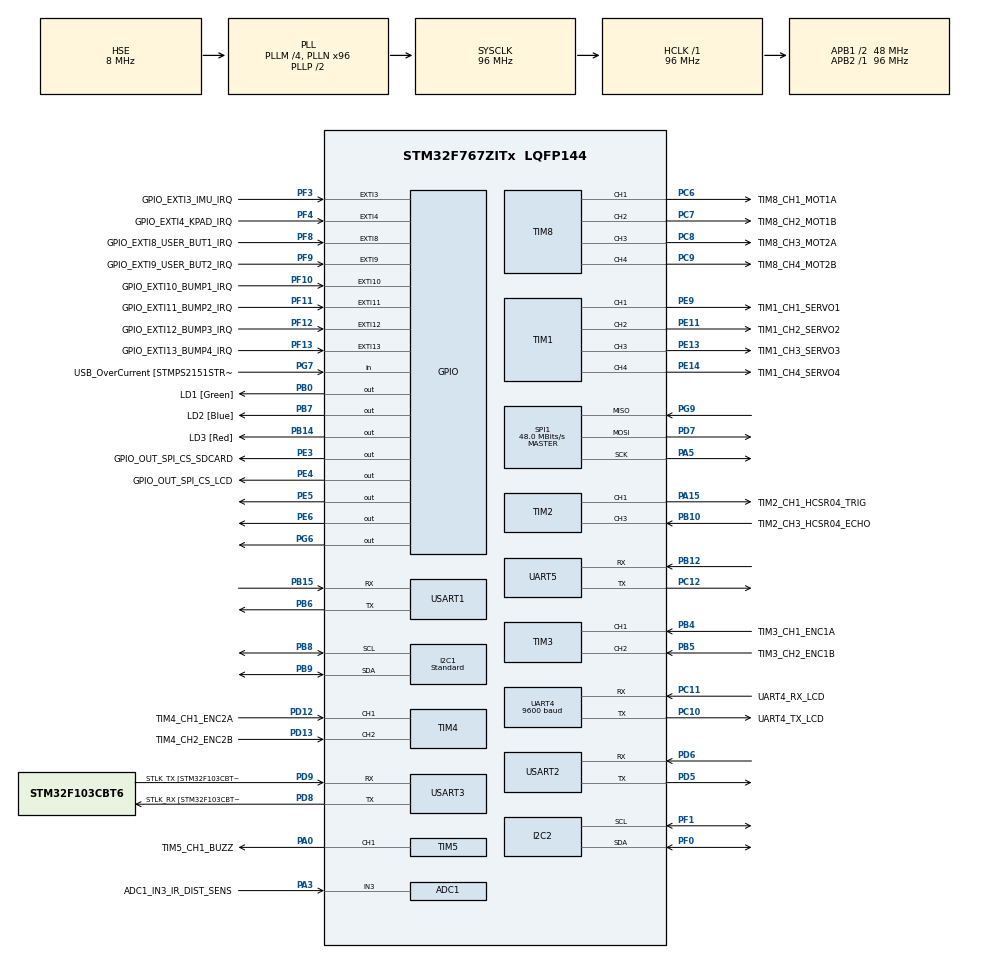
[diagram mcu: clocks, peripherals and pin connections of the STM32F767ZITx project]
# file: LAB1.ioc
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ADC1.Channel-1\#ChannelRegularConversion=ADC_CHANNEL_3
ADC1.NbrOfConversionFlag=1
ADC1.Rank-1\#ChannelRegularConversion=1
ADC1.SamplingTime-1\#ChannelRegularConversion=ADC_SAMPLETIME_3CYCLES
ADC1.master=1
FREERTOS.Tasks01=LineSensorTask,48,128,StartLineSensorTask,Default,NULL,Dynamic,NULL,NULL;led1Task,48,128,StartLED1Task,Default,NULL,Dynamic,NULL,NULL;led2Task,8,128,StartLED2Task,Default,NULL,Dynamic,NULL,NULL
FREERTOS.configUSE_NEWLIB_REENTRANT=1
I2C1.I2C_Speed_Mode=I2C_Standard
I2C1.Timing=0x20303E5D
I2C2.Timing=0x20303E5D
Mcu.Family=STM32F7
Mcu.Name=STM32F767ZITx
Mcu.Package=LQFP144
Mcu.UserConstants=TIM8_PSC_VALUE,959;TIM8_ARR_VALUE,400;TIM1_PSC_VALUE,959;TIM1_ARR_VALUE,200
NVIC.EXTI4_IRQn=true\:1\:0\:true\:false\:true\:true\:true\:true\:true
NVIC.PriorityGroup=NVIC_PRIORITYGROUP_4
NVIC.TIM6_DAC_IRQn=true\:15\:0\:false\:false\:true\:false\:false\:true\:true
NVIC.TimeBase=TIM6_DAC_IRQn
NVIC.TimeBaseIP=TIM6
PA0/WKUP.GPIO_Label=TIM5_CH1_BUZZ
PA0/WKUP.Signal=S_TIM5_CH1
PA1.GPIO_Label=RMII_REF_CLK [LAN8742A-CZ-TR_REFCLK0]
PA1.Signal=ETH_REF_CLK
PA10.GPIO_Label=USB_ID
PA10.Signal=USB_OTG_FS_ID
PA11.GPIO_Label=USB_DM
PA11.Signal=USB_OTG_FS_DM
PA12.GPIO_Label=USB_DP
PA12.Signal=USB_OTG_FS_DP
PA13.GPIO_Label=TMS
PA13.Mode=Serial_Wire
PA13.Signal=SYS_JTMS-SWDIO
PA14.GPIO_Label=TCK
PA14.Mode=Serial_Wire
PA14.Signal=SYS_JTCK-SWCLK
PA15.GPIO_Label=TIM2_CH1_HCSR04_TRIG
PA15.Signal=S_TIM2_CH1_ETR
PA2.GPIO_Label=RMII_MDIO [LAN8742A-CZ-TR_MDIO]
PA2.Signal=ETH_MDIO
PA3.GPIO_Label=ADC1_IN3_IR_DIST_SENS
PA3.Signal=ADCx_IN3
PA5.Mode=Full_Duplex_Master
PA5.Signal=SPI1_SCK
PA7.GPIO_Label=RMII_CRS_DV [LAN8742A-CZ-TR_CRS_DV]
PA7.Signal=ETH_CRS_DV
PA8.GPIO_Label=USB_SOF [TP1]
PA8.Signal=USB_OTG_FS_SOF
PA9.GPIO_Label=USB_VBUS
PA9.Signal=USB_OTG_FS_VBUS
PB0.GPIO_Label=LD1 [Green]
PB0.Signal=GPIO_Output
PB10.GPIO_Label=TIM2_CH3_HCSR04_ECHO
PB10.Signal=S_TIM2_CH3
PB12.Mode=Asynchronous
PB12.Signal=UART5_RX
PB13.GPIO_Label=RMII_TXD1 [LAN8742A-CZ-TR_TXD1]
PB13.Signal=ETH_TXD1
PB14.GPIO_Label=LD3 [Red]
PB14.Signal=GPIO_Output
PB15.Mode=Asynchronous
PB15.Signal=USART1_RX
PB3.GPIO_Label=SWO
PB3.Signal=SYS_JTDO-SWO
PB4.GPIO_Label=TIM3_CH1_ENC1A
PB4.Signal=S_TIM3_CH1
PB5.GPIO_Label=TIM3_CH2_ENC1B
PB5.Signal=S_TIM3_CH2
PB6.Mode=Asynchronous
PB6.Signal=USART1_TX
PB7.GPIO_Label=LD2 [Blue]
PB7.Signal=GPIO_Output
PB8.GPIO_Pu=GPIO_PULLUP
PB8.Mode=I2C
PB8.Signal=I2C1_SCL
PB9.GPIO_Pu=GPIO_PULLUP
PB9.Mode=I2C
PB9.Signal=I2C1_SDA
PC1.GPIO_Label=RMII_MDC [LAN8742A-CZ-TR_MDC]
PC1.Signal=ETH_MDC
PC10.GPIO_Label=UART4_TX_LCD
PC10.Mode=Asynchronous
PC10.Signal=UART4_TX
PC11.GPIO_Label=UART4_RX_LCD
PC11.Mode=Asynchronous
PC11.Signal=UART4_RX
PC12.Mode=Asynchronous
PC12.Signal=UART5_TX
PC14/OSC32_IN.Mode=LSE-External-Oscillator
PC14/OSC32_IN.Signal=RCC_OSC32_IN
PC15/OSC32_OUT.Mode=LSE-External-Oscillator
PC15/OSC32_OUT.Signal=RCC_OSC32_OUT
PC4.GPIO_Label=RMII_RXD0 [LAN8742A-CZ-TR_RXD0]
PC4.Signal=ETH_RXD0
PC5.GPIO_Label=RMII_RXD1 [LAN8742A-CZ-TR_RXD1]
PC5.Signal=ETH_RXD1
PC6.GPIO_Label=TIM8_CH1_MOT1A
PC6.Signal=S_TIM8_CH1
PC7.GPIO_Label=TIM8_CH2_MOT1B
PC7.Signal=S_TIM8_CH2
PC8.GPIO_Label=TIM8_CH3_MOT2A
PC8.Signal=S_TIM8_CH3
PC9.GPIO_Label=TIM8_CH4_MOT2B
PC9.Signal=S_TIM8_CH4
PD12.GPIO_Label=TIM4_CH1_ENC2A
PD12.Signal=S_TIM4_CH1
PD13.GPIO_Label=TIM4_CH2_ENC2B
PD13.Signal=S_TIM4_CH2
PD5.Mode=Asynchronous
PD5.Signal=USART2_TX
PD6.Mode=Asynchronous
PD6.Signal=USART2_RX
PD7.Mode=Full_Duplex_Master
PD7.Signal=SPI1_MOSI
PD8.GPIO_Label=STLK_RX [STM32F103CBT6_PA3]
PD8.Mode=Asynchronous
PD8.Signal=USART3_TX
PD9.GPIO_Label=STLK_TX [STM32F103CBT6_PA2]
PD9.Mode=Asynchronous
PD9.Signal=USART3_RX
PE11.GPIO_Label=TIM1_CH2_SERVO2
PE11.Signal=S_TIM1_CH2
PE13.GPIO_Label=TIM1_CH3_SERVO3
PE13.Signal=S_TIM1_CH3
PE14.GPIO_Label=TIM1_CH4_SERVO4
PE14.Signal=S_TIM1_CH4
PE3.GPIO_Label=GPIO_OUT_SPI_CS_SDCARD
PE3.Signal=GPIO_Output
PE4.GPIO_Label=GPIO_OUT_SPI_CS_LCD
PE4.Signal=GPIO_Output
PE5.Signal=GPIO_Output
PE6.Signal=GPIO_Output
PE9.GPIO_Label=TIM1_CH1_SERVO1
PE9.Signal=S_TIM1_CH1
PF0.GPIO_Pu=GPIO_PULLUP
PF0.Mode=I2C
PF0.Signal=I2C2_SDA
PF1.GPIO_Pu=GPIO_PULLUP
PF1.Mode=I2C
PF1.Signal=I2C2_SCL
PF10.GPIO_Label=GPIO_EXTI10_BUMP1_IRQ
PF10.Signal=GPXTI10
PF11.GPIO_Label=GPIO_EXTI11_BUMP2_IRQ
PF11.Signal=GPXTI11
PF12.GPIO_Label=GPIO_EXTI12_BUMP3_IRQ
PF12.Signal=GPXTI12
PF13.GPIO_Label=GPIO_EXTI13_BUMP4_IRQ
PF13.Signal=GPXTI13
PF3.GPIO_Label=GPIO_EXTI3_IMU_IRQ
PF3.Signal=GPXTI3
PF4.GPIO_Label=GPIO_EXTI4_KPAD_IRQ
PF4.GPIO_ModeDefaultEXTI=GPIO_MODE_IT_FALLING
PF4.Signal=GPXTI4
PF8.GPIO_Label=GPIO_EXTI8_USER_BUT1_IRQ
PF8.Signal=GPXTI8
PF9.GPIO_Label=GPIO_EXTI9_USER_BUT2_IRQ
PF9.Signal=GPXTI9
PG11.GPIO_Label=RMII_TX_EN [LAN8742A-CZ-TR_TXEN]
PG11.Signal=ETH_TX_EN
PG13.GPIO_Label=RMII_TXD0 [LAN8742A-CZ-TR_TXD0]
PG13.Signal=ETH_TXD0
PG6.Signal=GPIO_Output
PG7.GPIO_Label=USB_OverCurrent [STMPS2151STR_FAULT]
PG7.Signal=GPIO_Input
PG9.Mode=Full_Duplex_Master
PG9.Signal=SPI1_MISO
PH0/OSC_IN.GPIO_Label=MCO [STM32F103CBT6_PA8]
PH0/OSC_IN.Mode=HSE-External-Clock-Source
PH0/OSC_IN.Signal=RCC_OSC_IN
PH1/OSC_OUT.Mode=HSE-External-Clock-Source
PH1/OSC_OUT.Signal=RCC_OSC_OUT
ProjectManager.HeapSize=0x200
ProjectManager.StackSize=0x400
ProjectManager.TargetToolchain=STM32CubeIDE
RCC.48MHZClocksFreq_Value=24000000
RCC.AHBFreq_Value=96000000
RCC.APB1CLKDivider=RCC_HCLK_DIV2
RCC.APB1Freq_Value=48000000
RCC.APB1TimFreq_Value=96000000
RCC.APB2Freq_Value=96000000
RCC.APB2TimFreq_Value=96000000
RCC.CortexFreq_Value=96000000
RCC.HCLKFreq_Value=96000000
RCC.HSE_VALUE=8000000
RCC.HSI_VALUE=16000000
RCC.PLLM=4
RCC.PLLMUL=RCC_PLL_MUL9
RCC.PLLN=96
RCC.PLLQ=4
RCC.PLLSourceVirtual=RCC_PLLSOURCE_HSE
RCC.PRESCALERUSB=RCC_USBCLKSOURCE_PLL_DIV1_5
RCC.SYSCLKFreq_VALUE=96000000
RCC.SYSCLKSource=RCC_SYSCLKSOURCE_PLLCLK
RCC.SYSCLKSourceVirtual=RCC_SYSCLKSOURCE_PLLCLK
RCC.USBFreq_Value=48000000
RCC.VCOOutputFreq_Value=192000000
SH.ADCx_IN3.0=ADC1_IN3,IN3
SH.S_TIM1_CH1.0=TIM1_CH1,PWM Generation1 CH1
SH.S_TIM1_CH2.0=TIM1_CH2,PWM Generation2 CH2
SH.S_TIM1_CH3.0=TIM1_CH3,PWM Generation3 CH3
SH.S_TIM1_CH4.0=TIM1_CH4,PWM Generation4 CH4
SH.S_TIM2_CH1_ETR.0=TIM2_CH1,PWM Generation1 CH1
SH.S_TIM2_CH3.0=TIM2_CH3,Input_Capture3_from_TI3
SH.S_TIM3_CH1.0=TIM3_CH1,Encoder_Interface
SH.S_TIM3_CH2.0=TIM3_CH2,Encoder_Interface
SH.S_TIM4_CH1.0=TIM4_CH1,Encoder_Interface
SH.S_TIM4_CH2.0=TIM4_CH2,Encoder_Interface
SH.S_TIM5_CH1.0=TIM5_CH1,PWM Generation1 CH1
SH.S_TIM8_CH1.0=TIM8_CH1,PWM Generation1 CH1
SH.S_TIM8_CH2.0=TIM8_CH2,PWM Generation2 CH2
SH.S_TIM8_CH3.0=TIM8_CH3,PWM Generation3 CH3
SH.S_TIM8_CH4.0=TIM8_CH4,PWM Generation4 CH4
SPI1.CalculateBaudRate=48.0 MBits/s
SPI1.Direction=SPI_DIRECTION_2LINES
SPI1.Mode=SPI_MODE_MASTER
SPI1.VirtualType=VM_MASTER
TIM1.Channel-PWM\ Generation1\ CH1=TIM_CHANNEL_1
TIM1.Channel-PWM\ Generation2\ CH2=TIM_CHANNEL_2
TIM1.Channel-PWM\ Generation3\ CH3=TIM_CHANNEL_3
TIM1.Channel-PWM\ Generation4\ CH4=TIM_CHANNEL_4
TIM1.Period=TIM1_ARR_VALUE
TIM1.Prescaler=TIM1_PSC_VALUE
TIM2.Channel-Input_Capture3_from_TI3=TIM_CHANNEL_3
TIM2.Channel-PWM\ Generation1\ CH1=TIM_CHANNEL_1
TIM5.Channel-PWM\ Generation1\ CH1=TIM_CHANNEL_1
TIM8.Channel-PWM\ Generation1\ CH1=TIM_CHANNEL_1
TIM8.Channel-PWM\ Generation2\ CH2=TIM_CHANNEL_2
TIM8.Channel-PWM\ Generation3\ CH3=TIM_CHANNEL_3
TIM8.Channel-PWM\ Generation4\ CH4=TIM_CHANNEL_4
TIM8.Period=TIM8_ARR_VALUE
TIM8.Prescaler=TIM8_PSC_VALUE
UART4.BaudRate=9600
USART1.VirtualMode-Asynchronous=VM_ASYNC
USART2.VirtualMode-Asynchronous=VM_ASYNC
USART3.VirtualMode-Asynchronous=VM_ASYNC
VP_FREERTOS_VS_CMSIS_V2.Mode=CMSIS_V2
VP_SYS_VS_tim6.Mode=TIM6
VP_TIM1_VS_ClockSourceINT.Mode=Internal
VP_TIM2_VS_ClockSourceINT.Mode=Internal
VP_TIM5_VS_ClockSourceINT.Mode=Internal
VP_TIM8_VS_ClockSourceINT.Mode=Internal
board=NUCLEO-F767ZI

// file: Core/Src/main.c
/* USER CODE BEGIN Header */
/**
 ******************************************************************************
 * @file           : main.c
 * @brief          : Main program body
 ******************************************************************************
 * @attention
 *
 * <h2><center>&copy; Copyright (c) 2021 STMicroelectronics.
 * All rights reserved.</center></h2>
 *
 * This software component is licensed by ST under BSD 3-Clause license,
 * the "License"; You may not use this file except in compliance with the
 * License. You may obtain a copy of the License at:
 *                        opensource.org/licenses/BSD-3-Clause
 *
 ******************************************************************************
 */
/* USER CODE END Header */
#include "main.h"
#include "cmsis_os.h"

/* USER CODE BEGIN Includes */
#include <stdio.h>
#include <string.h>
#include "SX1509_Registers.h"
/* USER CODE END Includes */

/* USER CODE BEGIN PD */
#define HAL_TIMEOUT 100

#define I2C_TIMEOUT 200

#define SX1509_I2C_ADDR1 0x3E //	SX1509 Proxy Sensors I2C address
#define SX1509_I2C_ADDR2 0x3F //	SX1509 Keypad I2C address
/* USER CODE END PD */

ADC_HandleTypeDef hadc1;

I2C_HandleTypeDef hi2c1;
I2C_HandleTypeDef hi2c2;

SPI_HandleTypeDef hspi1;

TIM_HandleTypeDef htim1;
TIM_HandleTypeDef htim2;
TIM_HandleTypeDef htim3;
TIM_HandleTypeDef htim4;
TIM_HandleTypeDef htim5;
TIM_HandleTypeDef htim8;

UART_HandleTypeDef huart4;
UART_HandleTypeDef huart5;
UART_HandleTypeDef huart1;
UART_HandleTypeDef huart2;
UART_HandleTypeDef huart3;

/* Definitions for LineSensorTask */
osThreadId_t LineSensorTaskHandle;
const osThreadAttr_t LineSensorTask_attributes = {
  .name = "LineSensorTask",
  .stack_size = 128 * 4,
  .priority = (osPriority_t) osPriorityRealtime,
};
/* Definitions for led1Task */
osThreadId_t led1TaskHandle;
const osThreadAttr_t led1Task_attributes = {
  .name = "led1Task",
  .stack_size = 128 * 4,
  .priority = (osPriority_t) osPriorityRealtime,
};
/* Definitions for led2Task */
osThreadId_t led2TaskHandle;
const osThreadAttr_t led2Task_attributes = {
  .name = "led2Task",
  .stack_size = 128 * 4,
  .priority = (osPriority_t) osPriorityLow,
};
/* USER CODE BEGIN PV */
const char keypadLayout[4][4] = {
    {'*', '0', '#', 'D'},
    {'7', '8', '9', 'C'},
    {'4', '5', '6', 'B'},
    {'1', '2', '3', 'A'}};
uint8_t store1, store2;
int colum, row;
char triggeredChar;
int columDir [4]= { 3, 2 ,1 ,0};
int keypadFreq = 1;
/* USER CODE END PV */

void SystemClock_Config(void);
static void MX_GPIO_Init(void);
static void MX_USART3_UART_Init(void);
static void MX_ADC1_Init(void);
static void MX_I2C1_Init(void);
static void MX_I2C2_Init(void);
static void MX_SPI1_Init(void);
static void MX_TIM1_Init(void);
static void MX_TIM2_Init(void);
static void MX_TIM3_Init(void);
static void MX_TIM4_Init(void);
static void MX_TIM5_Init(void);
static void MX_TIM8_Init(void);
static void MX_UART4_Init(void);
static void MX_UART5_Init(void);
static void MX_USART1_UART_Init(void);
static void MX_USART2_UART_Init(void);
void StartLineSensorTask(void *argument);
void StartLED1Task(void *argument);
void StartLED2Task(void *argument);

/* USER CODE BEGIN PFP */
extern void initialise_monitor_handles(void);
int getIndex(int value);
int findBinary(int decimal){
	int base = 1;
	int binary = 0;
   while(decimal > 0){
	   int rem = decimal % 2;
	   binary = binary + rem*base;
	   decimal = decimal / 2;
	   base = base * 10;
   }
   printf("Binary: %d\n\r", binary);
}
/* USER CODE END PFP */

/* USER CODE BEGIN 0 */
int inputUser = 0;
int counter = 0;
int flag=0;
int freq;
int lineData;
void HAL_GPIO_EXTI_Callback(uint16_t GPIO_Pin)
{
  //HAL_GPIO_TogglePin(GPIOE, GPIO_PIN_5);
  HAL_I2C_Mem_Read(&hi2c1, SX1509_I2C_ADDR2 << 1, REG_KEY_DATA_1, 1,&colum, 1, I2C_TIMEOUT);
  HAL_I2C_Mem_Read(&hi2c1, SX1509_I2C_ADDR2 << 1, REG_KEY_DATA_2, 1,&row, 1, I2C_TIMEOUT);
  printf("Interrupt on pin (%d).\n", GPIO_Pin);
  printf("colum.raw (%d)    row.raw (%d).\n", colum, row);
  colum = getIndex (colum);
  row = getIndex(row);
  printf("colum (%d)    row (%d).\n", colum, row);
  triggeredChar = keypadLayout[row][colum];

  if(flag == 1){
	  freq = inputUser;
	  inputUser = 0;
	  counter = 0;
	  flag = 0;
  }
	  if((triggeredChar <= '9') && (triggeredChar >= '0')){
	  	 		  keypadFreq = (int)(triggeredChar - '0');
	  	 		  inputUser = inputUser*(10^counter) + keypadFreq;
	  	 		  counter++;
	  }
  printf("Triggered Char: %c \n\r ", triggeredChar);
}

int getIndex(int value){
  switch (value){
    case 247:
      return 3;
    case 251:
      return 2;
    case 253:
      return 1;
    case 254:
      return 0;
    default:
    	return 99;
  }
}
/* USER CODE END 0 */

int main(void)
{
  /* USER CODE BEGIN 1 */
  uint8_t data;
  HAL_StatusTypeDef status;
  /* USER CODE END 1 */

  /* MCU Configuration--------------------------------------------------------*/

  /* Reset of all peripherals, Initializes the Flash interface and the Systick. */
  HAL_Init();

  /* Configure the system clock */
  SystemClock_Config();

  /* USER CODE BEGIN SysInit */
  initialise_monitor_handles();
  /* USER CODE END SysInit */

  /* Initialize all configured peripherals */
  MX_GPIO_Init();
  MX_USART3_UART_Init();
  MX_ADC1_Init();
  MX_I2C1_Init();
  MX_I2C2_Init();
  MX_SPI1_Init();
  MX_TIM1_Init();
  MX_TIM2_Init();
  MX_TIM3_Init();
  MX_TIM4_Init();
  MX_TIM5_Init();
  MX_TIM8_Init();
  MX_UART4_Init();
  MX_UART5_Init();
  MX_USART1_UART_Init();
  MX_USART2_UART_Init();
  /* USER CODE BEGIN 2 */

  /* Disable LCD SPI SS */
  HAL_GPIO_WritePin(GPIO_OUT_SPI_CS_LCD_GPIO_Port, GPIO_OUT_SPI_CS_LCD_Pin, GPIO_PIN_SET);

  /* Disable EXTI4_IRQ during SX1509 initialization */
  HAL_NVIC_DisableIRQ(EXTI4_IRQn);

  /* Software reset */
  data = 0x12;
  status = HAL_I2C_Mem_Write(&hi2c1, SX1509_I2C_ADDR2 << 1, REG_RESET, 1, &data, 1, I2C_TIMEOUT);
  if (status != HAL_OK)
    printf("I2C communication error (%X).\n", status);

  data = 0x34;
  status = HAL_I2C_Mem_Write(&hi2c1, SX1509_I2C_ADDR2 << 1, REG_RESET, 1, &data, 1, I2C_TIMEOUT);
  if (status != HAL_OK)
    printf("I2C communication error (%X).\n", status);

  HAL_Delay(100);

  /* Set KeyPad scanning engine */

  /* Set RegClock to 0x40 (enable internal oscillator; 2MHz freq) */
  data = 0x40;
  status = HAL_I2C_Mem_Write(&hi2c1, SX1509_I2C_ADDR2 << 1, REG_CLOCK, 1, &data, 1, I2C_TIMEOUT);
  if (status != HAL_OK)
    printf("I2C communication error (%X).\n", status);

  /* Set Bank A RegDir to 0xF0 (IO[0:3] as out) */
  data = 0xF0;
  status = HAL_I2C_Mem_Write(&hi2c1, SX1509_I2C_ADDR2 << 1, REG_DIR_A, 1, &data, 1, I2C_TIMEOUT);
  if (status != HAL_OK)
    printf("I2C communication error (%X).\n", status);

  /* Set Bank B RegDir to 0x0F (IO[8:11] as in) */
  data = 0x0F;
  status = HAL_I2C_Mem_Write(&hi2c1, SX1509_I2C_ADDR2 << 1, REG_DIR_B, 1, &data, 1, I2C_TIMEOUT);
  if (status != HAL_OK)
    printf("I2C communication error (%X).\n", status);

  /* Set Bank A RegOpenDrain to 0x0F (IO[0:3] as open-drain outputs) */
  data = 0x0F;
  status = HAL_I2C_Mem_Write(&hi2c1, SX1509_I2C_ADDR2 << 1, REG_OPEN_DRAIN_A, 1, &data, 1, I2C_TIMEOUT);
  if (status != HAL_OK)
    printf("I2C communication error (%X).\n", status);

  /* Set Bank B RegPullup to 0x0F (pull-ups enabled on inputs IO[8:11]) */
  data = 0x0F;
  status = HAL_I2C_Mem_Write(&hi2c1, SX1509_I2C_ADDR2 << 1, REG_PULL_UP_B, 1, &data, 1, I2C_TIMEOUT);
  if (status != HAL_OK)
    printf("I2C communication error (%X).\n", status);

  /* Set Bank B RegDebounceEnable to 0x0F (enable debouncing on IO[8:11]) */
  data = 0x0F;
  status = HAL_I2C_Mem_Write(&hi2c1, SX1509_I2C_ADDR2 << 1, REG_DEBOUNCE_ENABLE_B, 1, &data, 1, I2C_TIMEOUT);
  if (status != HAL_OK)
    printf("I2C communication error (%X).\n", status);

  /* Set RegDebounceConfig to 0x05 (16ms debounce time) */
  data = 0x05;
  status = HAL_I2C_Mem_Write(&hi2c1, SX1509_I2C_ADDR2 << 1, REG_DEBOUNCE_CONFIG, 1, &data, 1, I2C_TIMEOUT);
  if (status != HAL_OK)
    printf("I2C communication error (%X).\n", status);

  /* Set RegKeyConfig1 to 0x7D (8s auto-sleep; 32ms scan time per row) */
  data = 0x7D;
  status = HAL_I2C_Mem_Write(&hi2c1, SX1509_I2C_ADDR2 << 1, REG_KEY_CONFIG_1, 1, &data, 1, I2C_TIMEOUT);
  if (status != HAL_OK)
    printf("I2C communication error (%X).\n", status);

  /* Set RegKeyConfig2 to 0x1B (4 rows; 4 columns) */
  data = 0x1B;
  status = HAL_I2C_Mem_Write(&hi2c1, SX1509_I2C_ADDR2 << 1, REG_KEY_CONFIG_2, 1, &data, 1, I2C_TIMEOUT);
  if (status != HAL_OK)
    printf("I2C communication error (%X).\n", status);

  /* Enable EXTI4_IRQ after SX1509 initialization */
  HAL_Delay(100);
  HAL_NVIC_EnableIRQ(EXTI4_IRQn);

  /* Disable EXTI2_IRQ during SX1509 initialization */
  HAL_NVIC_DisableIRQ(EXTI2_IRQn);

  /* Software reset */
  data = 0x12;
  status = HAL_I2C_Mem_Write(&hi2c1, SX1509_I2C_ADDR1 << 1, REG_RESET, 1, &data, 1, I2C_TIMEOUT);
  if (status != HAL_OK)
    printf("I2C communication error (%X).\n", status);

  data = 0x34;
  status = HAL_I2C_Mem_Write(&hi2c1, SX1509_I2C_ADDR1 << 1, REG_RESET, 1, &data, 1, I2C_TIMEOUT);
  if (status != HAL_OK)
    printf("I2C communication error (%X).\n", status);

  HAL_Delay(100);

  /* Set RegDirA to 0xFF (all IO of Bank A configured as inputs) */
  data = 0xFF; // 0 = out; 1 = in
  status = HAL_I2C_Mem_Write(&hi2c1, SX1509_I2C_ADDR1 << 1, REG_DIR_A, 1, &data, 1, I2C_TIMEOUT);
  if (status != HAL_OK)
    printf("I2C communication error (%X).\n", status);

  /* Set RegDirB to 0xFF (all IO of Bank B configured as inputs) */
  data = 0xFF; // 0 = out; 1 = in
  status = HAL_I2C_Mem_Write(&hi2c1, SX1509_I2C_ADDR1 << 1, REG_DIR_B, 1, &data, 1, I2C_TIMEOUT);
  if (status != HAL_OK)
    printf("I2C communication error (%X).\n", status);

  /* Set RegInterruptMaskA to 0x00 (all IO of Bank A will trigger an interrupt) */
  data = 0x00;
  status = HAL_I2C_Mem_Write(&hi2c1, SX1509_I2C_ADDR1 << 1, REG_INTERRUPT_MASK_A, 1, &data, 1, I2C_TIMEOUT);
  if (status != HAL_OK)
    printf("I2C communication error (%X).\n", status);

  /* Set RegSenseHighA to 0xAA (IO[7:4] of Bank A will trigger an interrupt on falling edge) */
  data = 0xAA;
  status = HAL_I2C_Mem_Write(&hi2c1, SX1509_I2C_ADDR1 << 1, REG_SENSE_HIGH_A, 1, &data, 1, I2C_TIMEOUT);
  if (status != HAL_OK)
    printf("I2C communication error (%X).\n", status);

  /* Set RegSenseLowA to 0xAA (IO[3:0] of Bank A will trigger an interrupt on falling edge) */
  data = 0xAA;
  status = HAL_I2C_Mem_Write(&hi2c1, SX1509_I2C_ADDR1 << 1, REG_SENSE_LOW_A, 1, &data, 1, I2C_TIMEOUT);
  if (status != HAL_OK)
    printf("I2C communication error (%X).\n", status);

  /* Enable EXTI2_IRQ after SX1509 initialization */
  HAL_Delay(100);
  HAL_NVIC_EnableIRQ(EXTI2_IRQn);

  printf("Ready\n");
  //int lineData;
  /* USER CODE END 2 */

  /* Init scheduler */
  osKernelInitialize();

  /* Create the thread(s) */
  /* creation of LineSensorTask */
  LineSensorTaskHandle = osThreadNew(StartLineSensorTask, NULL, &LineSensorTask_attributes);

  /* creation of led1Task */
  led1TaskHandle = osThreadNew(StartLED1Task, NULL, &led1Task_attributes);

  /* creation of led2Task */
  led2TaskHandle = osThreadNew(StartLED2Task, NULL, &led2Task_attributes);

  /* Start scheduler */
  osKernelStart();
  /* We should never get here as control is now taken by the scheduler */
  /* Infinite loop */
  /* USER CODE BEGIN WHILE */
  while (1)
  {

	  /*HAL_I2C_Mem_Read(&hi2c1, SX1509_I2C_ADDR1 << 1, REG_DATA_B, 1, &lineData, 1, I2C_TIMEOUT);
	  findBinary(lineData);
	  printf("Decimal is: %d \n\r", lineData);
	  HAL_Delay(500);*/
	  if(triggeredChar == '#'){
		  flag = 1;
		  HAL_GPIO_TogglePin(GPIOE, GPIO_PIN_5);
		  if(inputUser != 0){
			  HAL_Delay((1.0/inputUser)*1000);
		  }
		  else{
			  HAL_Delay(1000);
		  }
	  }
	  else{
		  HAL_GPIO_TogglePin(GPIOE, GPIO_PIN_5);
		  if(freq != 0){
			  HAL_Delay((1.0/freq)*1000);
		  }
		  else{
			  HAL_Delay(1000);
		  }
	  }
    /* USER CODE END WHILE */

  }
}

void SystemClock_Config(void)
{
  RCC_OscInitTypeDef RCC_OscInitStruct = {0};
  RCC_ClkInitTypeDef RCC_ClkInitStruct = {0};

  /** Configure LSE Drive Capability
  */
  HAL_PWR_EnableBkUpAccess();

  /** Configure the main internal regulator output voltage
  */
  __HAL_RCC_PWR_CLK_ENABLE();
  __HAL_PWR_VOLTAGESCALING_CONFIG(PWR_REGULATOR_VOLTAGE_SCALE3);

  /** Initializes the RCC Oscillators according to the specified parameters
  * in the RCC_OscInitTypeDef structure.
  */
  RCC_OscInitStruct.OscillatorType = RCC_OSCILLATORTYPE_HSE;
  RCC_OscInitStruct.HSEState = RCC_HSE_BYPASS;
  RCC_OscInitStruct.PLL.PLLState = RCC_PLL_ON;
  RCC_OscInitStruct.PLL.PLLSource = RCC_PLLSOURCE_HSE;
  RCC_OscInitStruct.PLL.PLLM = 4;
  RCC_OscInitStruct.PLL.PLLN = 96;
  RCC_OscInitStruct.PLL.PLLP = RCC_PLLP_DIV2;
  RCC_OscInitStruct.PLL.PLLQ = 4;
  RCC_OscInitStruct.PLL.PLLR = 2;
  if (HAL_RCC_OscConfig(&RCC_OscInitStruct) != HAL_OK)
  {
    Error_Handler();
  }

  /** Activate the Over-Drive mode
  */
  if (HAL_PWREx_EnableOverDrive() != HAL_OK)
  {
    Error_Handler();
  }

  /** Initializes the CPU, AHB and APB buses clocks
  */
  RCC_ClkInitStruct.ClockType = RCC_CLOCKTYPE_HCLK|RCC_CLOCKTYPE_SYSCLK
                              |RCC_CLOCKTYPE_PCLK1|RCC_CLOCKTYPE_PCLK2;
  RCC_ClkInitStruct.SYSCLKSource = RCC_SYSCLKSOURCE_PLLCLK;
  RCC_ClkInitStruct.AHBCLKDivider = RCC_SYSCLK_DIV1;
  RCC_ClkInitStruct.APB1CLKDivider = RCC_HCLK_DIV2;
  RCC_ClkInitStruct.APB2CLKDivider = RCC_HCLK_DIV1;

  if (HAL_RCC_ClockConfig(&RCC_ClkInitStruct, FLASH_LATENCY_3) != HAL_OK)
  {
    Error_Handler();
  }
}

static void MX_ADC1_Init(void)
{

  ADC_ChannelConfTypeDef sConfig = {0};

  /** Configure the global features of the ADC (Clock, Resolution, Data Alignment and number of conversion)
  */
  hadc1.Instance = ADC1;
  hadc1.Init.ClockPrescaler = ADC_CLOCK_SYNC_PCLK_DIV4;
  hadc1.Init.Resolution = ADC_RESOLUTION_12B;
  hadc1.Init.ScanConvMode = ADC_SCAN_DISABLE;
  hadc1.Init.ContinuousConvMode = DISABLE;
  hadc1.Init.DiscontinuousConvMode = DISABLE;
  hadc1.Init.ExternalTrigConvEdge = ADC_EXTERNALTRIGCONVEDGE_NONE;
  hadc1.Init.ExternalTrigConv = ADC_SOFTWARE_START;
  hadc1.Init.DataAlign = ADC_DATAALIGN_RIGHT;
  hadc1.Init.NbrOfConversion = 1;
  hadc1.Init.DMAContinuousRequests = DISABLE;
  hadc1.Init.EOCSelection = ADC_EOC_SINGLE_CONV;
  if (HAL_ADC_Init(&hadc1) != HAL_OK)
  {
    Error_Handler();
  }

  /** Configure for the selected ADC regular channel its corresponding rank in the sequencer and its sample time.
  */
  sConfig.Channel = ADC_CHANNEL_3;
  sConfig.Rank = ADC_REGULAR_RANK_1;
  sConfig.SamplingTime = ADC_SAMPLETIME_3CYCLES;
  if (HAL_ADC_ConfigChannel(&hadc1, &sConfig) != HAL_OK)
  {
    Error_Handler();
  }

}

static void MX_I2C1_Init(void)
{

  hi2c1.Instance = I2C1;
  hi2c1.Init.Timing = 0x20303E5D;
  hi2c1.Init.OwnAddress1 = 0;
  hi2c1.Init.AddressingMode = I2C_ADDRESSINGMODE_7BIT;
  hi2c1.Init.DualAddressMode = I2C_DUALADDRESS_DISABLE;
  hi2c1.Init.OwnAddress2 = 0;
  hi2c1.Init.OwnAddress2Masks = I2C_OA2_NOMASK;
  hi2c1.Init.GeneralCallMode = I2C_GENERALCALL_DISABLE;
  hi2c1.Init.NoStretchMode = I2C_NOSTRETCH_DISABLE;
  if (HAL_I2C_Init(&hi2c1) != HAL_OK)
  {
    Error_Handler();
  }

  /** Configure Analogue filter
  */
  if (HAL_I2CEx_ConfigAnalogFilter(&hi2c1, I2C_ANALOGFILTER_ENABLE) != HAL_OK)
  {
    Error_Handler();
  }

  /** Configure Digital filter
  */
  if (HAL_I2CEx_ConfigDigitalFilter(&hi2c1, 0) != HAL_OK)
  {
    Error_Handler();
  }

}

static void MX_I2C2_Init(void)
{

  hi2c2.Instance = I2C2;
  hi2c2.Init.Timing = 0x20303E5D;
  hi2c2.Init.OwnAddress1 = 0;
  hi2c2.Init.AddressingMode = I2C_ADDRESSINGMODE_7BIT;
  hi2c2.Init.DualAddressMode = I2C_DUALADDRESS_DISABLE;
  hi2c2.Init.OwnAddress2 = 0;
  hi2c2.Init.OwnAddress2Masks = I2C_OA2_NOMASK;
  hi2c2.Init.GeneralCallMode = I2C_GENERALCALL_DISABLE;
  hi2c2.Init.NoStretchMode = I2C_NOSTRETCH_DISABLE;
  if (HAL_I2C_Init(&hi2c2) != HAL_OK)
  {
    Error_Handler();
  }

  /** Configure Analogue filter
  */
  if (HAL_I2CEx_ConfigAnalogFilter(&hi2c2, I2C_ANALOGFILTER_ENABLE) != HAL_OK)
  {
    Error_Handler();
  }

  /** Configure Digital filter
  */
  if (HAL_I2CEx_ConfigDigitalFilter(&hi2c2, 0) != HAL_OK)
  {
    Error_Handler();
  }

}

static void MX_SPI1_Init(void)
{

  /* SPI1 parameter configuration*/
  hspi1.Instance = SPI1;
  hspi1.Init.Mode = SPI_MODE_MASTER;
  hspi1.Init.Direction = SPI_DIRECTION_2LINES;
  hspi1.Init.DataSize = SPI_DATASIZE_4BIT;
  hspi1.Init.CLKPolarity = SPI_POLARITY_LOW;
  hspi1.Init.CLKPhase = SPI_PHASE_1EDGE;
  hspi1.Init.NSS = SPI_NSS_SOFT;
  hspi1.Init.BaudRatePrescaler = SPI_BAUDRATEPRESCALER_2;
  hspi1.Init.FirstBit = SPI_FIRSTBIT_MSB;
  hspi1.Init.TIMode = SPI_TIMODE_DISABLE;
  hspi1.Init.CRCCalculation = SPI_CRCCALCULATION_DISABLE;
  hspi1.Init.CRCPolynomial = 7;
  hspi1.Init.CRCLength = SPI_CRC_LENGTH_DATASIZE;
  hspi1.Init.NSSPMode = SPI_NSS_PULSE_ENABLE;
  if (HAL_SPI_Init(&hspi1) != HAL_OK)
  {
    Error_Handler();
  }

}

static void MX_TIM1_Init(void)
{

  TIM_ClockConfigTypeDef sClockSourceConfig = {0};
  TIM_MasterConfigTypeDef sMasterConfig = {0};
  TIM_OC_InitTypeDef sConfigOC = {0};
  TIM_BreakDeadTimeConfigTypeDef sBreakDeadTimeConfig = {0};

  htim1.Instance = TIM1;
  htim1.Init.Prescaler = TIM1_PSC_VALUE;
  htim1.Init.CounterMode = TIM_COUNTERMODE_UP;
  htim1.Init.Period = TIM1_ARR_VALUE;
  htim1.Init.ClockDivision = TIM_CLOCKDIVISION_DIV1;
  htim1.Init.RepetitionCounter = 0;
  htim1.Init.AutoReloadPreload = TIM_AUTORELOAD_PRELOAD_DISABLE;
  if (HAL_TIM_Base_Init(&htim1) != HAL_OK)
  {
    Error_Handler();
  }
  sClockSourceConfig.ClockSource = TIM_CLOCKSOURCE_INTERNAL;
  if (HAL_TIM_ConfigClockSource(&htim1, &sClockSourceConfig) != HAL_OK)
  {
    Error_Handler();
  }
  if (HAL_TIM_PWM_Init(&htim1) != HAL_OK)
  {
    Error_Handler();
  }
  sMasterConfig.MasterOutputTrigger = TIM_TRGO_RESET;
  sMasterConfig.MasterOutputTrigger2 = TIM_TRGO2_RESET;
  sMasterConfig.MasterSlaveMode = TIM_MASTERSLAVEMODE_DISABLE;
  if (HAL_TIMEx_MasterConfigSynchronization(&htim1, &sMasterConfig) != HAL_OK)
  {
    Error_Handler();
  }
  sConfigOC.OCMode = TIM_OCMODE_PWM1;
  sConfigOC.Pulse = 0;
  sConfigOC.OCPolarity = TIM_OCPOLARITY_HIGH;
  sConfigOC.OCNPolarity = TIM_OCNPOLARITY_HIGH;
  sConfigOC.OCFastMode = TIM_OCFAST_DISABLE;
  sConfigOC.OCIdleState = TIM_OCIDLESTATE_RESET;
  sConfigOC.OCNIdleState = TIM_OCNIDLESTATE_RESET;
  if (HAL_TIM_PWM_ConfigChannel(&htim1, &sConfigOC, TIM_CHANNEL_1) != HAL_OK)
  {
    Error_Handler();
  }
  if (HAL_TIM_PWM_ConfigChannel(&htim1, &sConfigOC, TIM_CHANNEL_2) != HAL_OK)
  {
    Error_Handler();
  }
  if (HAL_TIM_PWM_ConfigChannel(&htim1, &sConfigOC, TIM_CHANNEL_3) != HAL_OK)
  {
    Error_Handler();
  }
  if (HAL_TIM_PWM_ConfigChannel(&htim1, &sConfigOC, TIM_CHANNEL_4) != HAL_OK)
  {
    Error_Handler();
  }
  sBreakDeadTimeConfig.OffStateRunMode = TIM_OSSR_DISABLE;
  sBreakDeadTimeConfig.OffStateIDLEMode = TIM_OSSI_DISABLE;
  sBreakDeadTimeConfig.LockLevel = TIM_LOCKLEVEL_OFF;
  sBreakDeadTimeConfig.DeadTime = 0;
  sBreakDeadTimeConfig.BreakState = TIM_BREAK_DISABLE;
  sBreakDeadTimeConfig.BreakPolarity = TIM_BREAKPOLARITY_HIGH;
  sBreakDeadTimeConfig.BreakFilter = 0;
  sBreakDeadTimeConfig.Break2State = TIM_BREAK2_DISABLE;
  sBreakDeadTimeConfig.Break2Polarity = TIM_BREAK2POLARITY_HIGH;
  sBreakDeadTimeConfig.Break2Filter = 0;
  sBreakDeadTimeConfig.AutomaticOutput = TIM_AUTOMATICOUTPUT_DISABLE;
  if (HAL_TIMEx_ConfigBreakDeadTime(&htim1, &sBreakDeadTimeConfig) != HAL_OK)
  {
    Error_Handler();
  }
  HAL_TIM_MspPostInit(&htim1);

}

static void MX_TIM2_Init(void)
{

  TIM_ClockConfigTypeDef sClockSourceConfig = {0};
  TIM_MasterConfigTypeDef sMasterConfig = {0};
  TIM_OC_InitTypeDef sConfigOC = {0};
  TIM_IC_InitTypeDef sConfigIC = {0};

  htim2.Instance = TIM2;
  htim2.Init.Prescaler = 0;
  htim2.Init.CounterMode = TIM_COUNTERMODE_UP;
  htim2.Init.Period = 4294967295;
  htim2.Init.ClockDivision = TIM_CLOCKDIVISION_DIV1;
  htim2.Init.AutoReloadPreload = TIM_AUTORELOAD_PRELOAD_DISABLE;
  if (HAL_TIM_Base_Init(&htim2) != HAL_OK)
  {
    Error_Handler();
  }
  sClockSourceConfig.ClockSource = TIM_CLOCKSOURCE_INTERNAL;
  if (HAL_TIM_ConfigClockSource(&htim2, &sClockSourceConfig) != HAL_OK)
  {
    Error_Handler();
  }
  if (HAL_TIM_PWM_Init(&htim2) != HAL_OK)
  {
    Error_Handler();
  }
  if (HAL_TIM_IC_Init(&htim2) != HAL_OK)
  {
    Error_Handler();
  }
  sMasterConfig.MasterOutputTrigger = TIM_TRGO_RESET;
  sMasterConfig.MasterSlaveMode = TIM_MASTERSLAVEMODE_DISABLE;
  if (HAL_TIMEx_MasterConfigSynchronization(&htim2, &sMasterConfig) != HAL_OK)
  {
    Error_Handler();
  }
  sConfigOC.OCMode = TIM_OCMODE_PWM1;
  sConfigOC.Pulse = 0;
  sConfigOC.OCPolarity = TIM_OCPOLARITY_HIGH;
  sConfigOC.OCFastMode = TIM_OCFAST_DISABLE;
  if (HAL_TIM_PWM_ConfigChannel(&htim2, &sConfigOC, TIM_CHANNEL_1) != HAL_OK)
  {
    Error_Handler();
  }
  sConfigIC.ICPolarity = TIM_INPUTCHANNELPOLARITY_RISING;
  sConfigIC.ICSelection = TIM_ICSELECTION_DIRECTTI;
  sConfigIC.ICPrescaler = TIM_ICPSC_DIV1;
  sConfigIC.ICFilter = 0;
  if (HAL_TIM_IC_ConfigChannel(&htim2, &sConfigIC, TIM_CHANNEL_3) != HAL_OK)
  {
    Error_Handler();
  }
  HAL_TIM_MspPostInit(&htim2);

}

static void MX_TIM3_Init(void)
{

  TIM_Encoder_InitTypeDef sConfig = {0};
  TIM_MasterConfigTypeDef sMasterConfig = {0};

  htim3.Instance = TIM3;
  htim3.Init.Prescaler = 0;
  htim3.Init.CounterMode = TIM_COUNTERMODE_UP;
  htim3.Init.Period = 65535;
  htim3.Init.ClockDivision = TIM_CLOCKDIVISION_DIV1;
  htim3.Init.AutoReloadPreload = TIM_AUTORELOAD_PRELOAD_DISABLE;
  sConfig.EncoderMode = TIM_ENCODERMODE_TI1;
  sConfig.IC1Polarity = TIM_ICPOLARITY_RISING;
  sConfig.IC1Selection = TIM_ICSELECTION_DIRECTTI;
  sConfig.IC1Prescaler = TIM_ICPSC_DIV1;
  sConfig.IC1Filter = 0;
  sConfig.IC2Polarity = TIM_ICPOLARITY_RISING;
  sConfig.IC2Selection = TIM_ICSELECTION_DIRECTTI;
  sConfig.IC2Prescaler = TIM_ICPSC_DIV1;
  sConfig.IC2Filter = 0;
  if (HAL_TIM_Encoder_Init(&htim3, &sConfig) != HAL_OK)
  {
    Error_Handler();
  }
  sMasterConfig.MasterOutputTrigger = TIM_TRGO_RESET;
  sMasterConfig.MasterSlaveMode = TIM_MASTERSLAVEMODE_DISABLE;
  if (HAL_TIMEx_MasterConfigSynchronization(&htim3, &sMasterConfig) != HAL_OK)
  {
    Error_Handler();
  }

}

static void MX_TIM4_Init(void)
{

  TIM_Encoder_InitTypeDef sConfig = {0};
  TIM_MasterConfigTypeDef sMasterConfig = {0};

  htim4.Instance = TIM4;
  htim4.Init.Prescaler = 0;
  htim4.Init.CounterMode = TIM_COUNTERMODE_UP;
  htim4.Init.Period = 65535;
  htim4.Init.ClockDivision = TIM_CLOCKDIVISION_DIV1;
  htim4.Init.AutoReloadPreload = TIM_AUTORELOAD_PRELOAD_DISABLE;
  sConfig.EncoderMode = TIM_ENCODERMODE_TI1;
  sConfig.IC1Polarity = TIM_ICPOLARITY_RISING;
  sConfig.IC1Selection = TIM_ICSELECTION_DIRECTTI;
  sConfig.IC1Prescaler = TIM_ICPSC_DIV1;
  sConfig.IC1Filter = 0;
  sConfig.IC2Polarity = TIM_ICPOLARITY_RISING;
  sConfig.IC2Selection = TIM_ICSELECTION_DIRECTTI;
  sConfig.IC2Prescaler = TIM_ICPSC_DIV1;
  sConfig.IC2Filter = 0;
  if (HAL_TIM_Encoder_Init(&htim4, &sConfig) != HAL_OK)
  {
    Error_Handler();
  }
  sMasterConfig.MasterOutputTrigger = TIM_TRGO_RESET;
  sMasterConfig.MasterSlaveMode = TIM_MASTERSLAVEMODE_DISABLE;
  if (HAL_TIMEx_MasterConfigSynchronization(&htim4, &sMasterConfig) != HAL_OK)
  {
    Error_Handler();
  }

}

static void MX_TIM5_Init(void)
{

  TIM_ClockConfigTypeDef sClockSourceConfig = {0};
  TIM_MasterConfigTypeDef sMasterConfig = {0};
  TIM_OC_InitTypeDef sConfigOC = {0};

  htim5.Instance = TIM5;
  htim5.Init.Prescaler = 0;
  htim5.Init.CounterMode = TIM_COUNTERMODE_UP;
  htim5.Init.Period = 4294967295;
  htim5.Init.ClockDivision = TIM_CLOCKDIVISION_DIV1;
  htim5.Init.AutoReloadPreload = TIM_AUTORELOAD_PRELOAD_DISABLE;
  if (HAL_TIM_Base_Init(&htim5) != HAL_OK)
  {
    Error_Handler();
  }
  sClockSourceConfig.ClockSource = TIM_CLOCKSOURCE_INTERNAL;
  if (HAL_TIM_ConfigClockSource(&htim5, &sClockSourceConfig) != HAL_OK)
  {
    Error_Handler();
  }
  if (HAL_TIM_PWM_Init(&htim5) != HAL_OK)
  {
    Error_Handler();
  }
  sMasterConfig.MasterOutputTrigger = TIM_TRGO_RESET;
  sMasterConfig.MasterSlaveMode = TIM_MASTERSLAVEMODE_DISABLE;
  if (HAL_TIMEx_MasterConfigSynchronization(&htim5, &sMasterConfig) != HAL_OK)
  {
    Error_Handler();
  }
  sConfigOC.OCMode = TIM_OCMODE_PWM1;
  sConfigOC.Pulse = 0;
  sConfigOC.OCPolarity = TIM_OCPOLARITY_HIGH;
  sConfigOC.OCFastMode = TIM_OCFAST_DISABLE;
  if (HAL_TIM_PWM_ConfigChannel(&htim5, &sConfigOC, TIM_CHANNEL_1) != HAL_OK)
  {
    Error_Handler();
  }
  HAL_TIM_MspPostInit(&htim5);

}

static void MX_TIM8_Init(void)
{

  TIM_ClockConfigTypeDef sClockSourceConfig = {0};
  TIM_MasterConfigTypeDef sMasterConfig = {0};
  TIM_OC_InitTypeDef sConfigOC = {0};
  TIM_BreakDeadTimeConfigTypeDef sBreakDeadTimeConfig = {0};

  htim8.Instance = TIM8;
  htim8.Init.Prescaler = TIM8_PSC_VALUE;
  htim8.Init.CounterMode = TIM_COUNTERMODE_UP;
  htim8.Init.Period = TIM8_ARR_VALUE;
  htim8.Init.ClockDivision = TIM_CLOCKDIVISION_DIV1;
  htim8.Init.RepetitionCounter = 0;
  htim8.Init.AutoReloadPreload = TIM_AUTORELOAD_PRELOAD_DISABLE;
  if (HAL_TIM_Base_Init(&htim8) != HAL_OK)
  {
    Error_Handler();
  }
  sClockSourceConfig.ClockSource = TIM_CLOCKSOURCE_INTERNAL;
  if (HAL_TIM_ConfigClockSource(&htim8, &sClockSourceConfig) != HAL_OK)
  {
    Error_Handler();
  }
  if (HAL_TIM_PWM_Init(&htim8) != HAL_OK)
  {
    Error_Handler();
  }
  sMasterConfig.MasterOutputTrigger = TIM_TRGO_RESET;
  sMasterConfig.MasterOutputTrigger2 = TIM_TRGO2_RESET;
  sMasterConfig.MasterSlaveMode = TIM_MASTERSLAVEMODE_DISABLE;
  if (HAL_TIMEx_MasterConfigSynchronization(&htim8, &sMasterConfig) != HAL_OK)
  {
    Error_Handler();
  }
  sConfigOC.OCMode = TIM_OCMODE_PWM1;
  sConfigOC.Pulse = 0;
  sConfigOC.OCPolarity = TIM_OCPOLARITY_HIGH;
  sConfigOC.OCNPolarity = TIM_OCNPOLARITY_HIGH;
  sConfigOC.OCFastMode = TIM_OCFAST_DISABLE;
  sConfigOC.OCIdleState = TIM_OCIDLESTATE_RESET;
  sConfigOC.OCNIdleState = TIM_OCNIDLESTATE_RESET;
  if (HAL_TIM_PWM_ConfigChannel(&htim8, &sConfigOC, TIM_CHANNEL_1) != HAL_OK)
  {
    Error_Handler();
  }
  if (HAL_TIM_PWM_ConfigChannel(&htim8, &sConfigOC, TIM_CHANNEL_2) != HAL_OK)
  {
    Error_Handler();
  }
  if (HAL_TIM_PWM_ConfigChannel(&htim8, &sConfigOC, TIM_CHANNEL_3) != HAL_OK)
  {
    Error_Handler();
  }
  if (HAL_TIM_PWM_ConfigChannel(&htim8, &sConfigOC, TIM_CHANNEL_4) != HAL_OK)
  {
    Error_Handler();
  }
  sBreakDeadTimeConfig.OffStateRunMode = TIM_OSSR_DISABLE;
  sBreakDeadTimeConfig.OffStateIDLEMode = TIM_OSSI_DISABLE;
  sBreakDeadTimeConfig.LockLevel = TIM_LOCKLEVEL_OFF;
  sBreakDeadTimeConfig.DeadTime = 0;
  sBreakDeadTimeConfig.BreakState = TIM_BREAK_DISABLE;
  sBreakDeadTimeConfig.BreakPolarity = TIM_BREAKPOLARITY_HIGH;
  sBreakDeadTimeConfig.BreakFilter = 0;
  sBreakDeadTimeConfig.Break2State = TIM_BREAK2_DISABLE;
  sBreakDeadTimeConfig.Break2Polarity = TIM_BREAK2POLARITY_HIGH;
  sBreakDeadTimeConfig.Break2Filter = 0;
  sBreakDeadTimeConfig.AutomaticOutput = TIM_AUTOMATICOUTPUT_DISABLE;
  if (HAL_TIMEx_ConfigBreakDeadTime(&htim8, &sBreakDeadTimeConfig) != HAL_OK)
  {
    Error_Handler();
  }
  HAL_TIM_MspPostInit(&htim8);

}

static void MX_UART4_Init(void)
{

  huart4.Instance = UART4;
  huart4.Init.BaudRate = 9600;
  huart4.Init.WordLength = UART_WORDLENGTH_8B;
  huart4.Init.StopBits = UART_STOPBITS_1;
  huart4.Init.Parity = UART_PARITY_NONE;
  huart4.Init.Mode = UART_MODE_TX_RX;
  huart4.Init.HwFlowCtl = UART_HWCONTROL_NONE;
  huart4.Init.OverSampling = UART_OVERSAMPLING_16;
  huart4.Init.OneBitSampling = UART_ONE_BIT_SAMPLE_DISABLE;
  huart4.AdvancedInit.AdvFeatureInit = UART_ADVFEATURE_NO_INIT;
  if (HAL_UART_Init(&huart4) != HAL_OK)
  {
    Error_Handler();
  }

}

static void MX_UART5_Init(void)
{

  huart5.Instance = UART5;
  huart5.Init.BaudRate = 115200;
  huart5.Init.WordLength = UART_WORDLENGTH_8B;
  huart5.Init.StopBits = UART_STOPBITS_1;
  huart5.Init.Parity = UART_PARITY_NONE;
  huart5.Init.Mode = UART_MODE_TX_RX;
  huart5.Init.HwFlowCtl = UART_HWCONTROL_NONE;
  huart5.Init.OverSampling = UART_OVERSAMPLING_16;
  huart5.Init.OneBitSampling = UART_ONE_BIT_SAMPLE_DISABLE;
  huart5.AdvancedInit.AdvFeatureInit = UART_ADVFEATURE_NO_INIT;
  if (HAL_UART_Init(&huart5) != HAL_OK)
  {
    Error_Handler();
  }

}

static void MX_USART1_UART_Init(void)
{

  huart1.Instance = USART1;
  huart1.Init.BaudRate = 115200;
  huart1.Init.WordLength = UART_WORDLENGTH_8B;
  huart1.Init.StopBits = UART_STOPBITS_1;
  huart1.Init.Parity = UART_PARITY_NONE;
  huart1.Init.Mode = UART_MODE_TX_RX;
  huart1.Init.HwFlowCtl = UART_HWCONTROL_NONE;
  huart1.Init.OverSampling = UART_OVERSAMPLING_16;
  huart1.Init.OneBitSampling = UART_ONE_BIT_SAMPLE_DISABLE;
  huart1.AdvancedInit.AdvFeatureInit = UART_ADVFEATURE_NO_INIT;
  if (HAL_UART_Init(&huart1) != HAL_OK)
  {
    Error_Handler();
  }

}

static void MX_USART2_UART_Init(void)
{

  huart2.Instance = USART2;
  huart2.Init.BaudRate = 115200;
  huart2.Init.WordLength = UART_WORDLENGTH_8B;
  huart2.Init.StopBits = UART_STOPBITS_1;
  huart2.Init.Parity = UART_PARITY_NONE;
  huart2.Init.Mode = UART_MODE_TX_RX;
  huart2.Init.HwFlowCtl = UART_HWCONTROL_NONE;
  huart2.Init.OverSampling = UART_OVERSAMPLING_16;
  huart2.Init.OneBitSampling = UART_ONE_BIT_SAMPLE_DISABLE;
  huart2.AdvancedInit.AdvFeatureInit = UART_ADVFEATURE_NO_INIT;
  if (HAL_UART_Init(&huart2) != HAL_OK)
  {
    Error_Handler();
  }

}

static void MX_USART3_UART_Init(void)
{

  huart3.Instance = USART3;
  huart3.Init.BaudRate = 115200;
  huart3.Init.WordLength = UART_WORDLENGTH_8B;
  huart3.Init.StopBits = UART_STOPBITS_1;
  huart3.Init.Parity = UART_PARITY_NONE;
  huart3.Init.Mode = UART_MODE_TX_RX;
  huart3.Init.HwFlowCtl = UART_HWCONTROL_NONE;
  huart3.Init.OverSampling = UART_OVERSAMPLING_16;
  huart3.Init.OneBitSampling = UART_ONE_BIT_SAMPLE_DISABLE;
  huart3.AdvancedInit.AdvFeatureInit = UART_ADVFEATURE_NO_INIT;
  if (HAL_UART_Init(&huart3) != HAL_OK)
  {
    Error_Handler();
  }

}

static void MX_GPIO_Init(void)
{
  GPIO_InitTypeDef GPIO_InitStruct = {0};

  /* GPIO Ports Clock Enable */
  __HAL_RCC_GPIOE_CLK_ENABLE();
  __HAL_RCC_GPIOC_CLK_ENABLE();
  __HAL_RCC_GPIOF_CLK_ENABLE();
  __HAL_RCC_GPIOH_CLK_ENABLE();
  __HAL_RCC_GPIOA_CLK_ENABLE();
  __HAL_RCC_GPIOB_CLK_ENABLE();
  __HAL_RCC_GPIOD_CLK_ENABLE();
  __HAL_RCC_GPIOG_CLK_ENABLE();

  /*Configure GPIO pin Output Level */
  HAL_GPIO_WritePin(GPIOE, GPIO_OUT_SPI_CS_SDCARD_Pin|GPIO_OUT_SPI_CS_LCD_Pin|GPIO_PIN_5|GPIO_PIN_6, GPIO_PIN_RESET);

  /*Configure GPIO pin Output Level */
  HAL_GPIO_WritePin(GPIOB, LD1_Pin|LD3_Pin|LD2_Pin, GPIO_PIN_RESET);

  /*Configure GPIO pin Output Level */
  HAL_GPIO_WritePin(GPIOG, GPIO_PIN_6, GPIO_PIN_RESET);

  /*Configure GPIO pins : GPIO_OUT_SPI_CS_SDCARD_Pin GPIO_OUT_SPI_CS_LCD_Pin PE5 PE6 */
  GPIO_InitStruct.Pin = GPIO_OUT_SPI_CS_SDCARD_Pin|GPIO_OUT_SPI_CS_LCD_Pin|GPIO_PIN_5|GPIO_PIN_6;
  GPIO_InitStruct.Mode = GPIO_MODE_OUTPUT_PP;
  GPIO_InitStruct.Pull = GPIO_NOPULL;
  GPIO_InitStruct.Speed = GPIO_SPEED_FREQ_LOW;
  HAL_GPIO_Init(GPIOE, &GPIO_InitStruct);

  /*Configure GPIO pins : GPIO_EXTI3_IMU_IRQ_Pin GPIO_EXTI8_USER_BUT1_IRQ_Pin GPIO_EXTI9_USER_BUT2_IRQ_Pin GPIO_EXTI10_BUMP1_IRQ_Pin
                           GPIO_EXTI11_BUMP2_IRQ_Pin GPIO_EXTI12_BUMP3_IRQ_Pin GPIO_EXTI13_BUMP4_IRQ_Pin */
  GPIO_InitStruct.Pin = GPIO_EXTI3_IMU_IRQ_Pin|GPIO_EXTI8_USER_BUT1_IRQ_Pin|GPIO_EXTI9_USER_BUT2_IRQ_Pin|GPIO_EXTI10_BUMP1_IRQ_Pin
                          |GPIO_EXTI11_BUMP2_IRQ_Pin|GPIO_EXTI12_BUMP3_IRQ_Pin|GPIO_EXTI13_BUMP4_IRQ_Pin;
  GPIO_InitStruct.Mode = GPIO_MODE_IT_RISING;
  GPIO_InitStruct.Pull = GPIO_NOPULL;
  HAL_GPIO_Init(GPIOF, &GPIO_InitStruct);

  /*Configure GPIO pin : GPIO_EXTI4_KPAD_IRQ_Pin */
  GPIO_InitStruct.Pin = GPIO_EXTI4_KPAD_IRQ_Pin;
  GPIO_InitStruct.Mode = GPIO_MODE_IT_FALLING;
  GPIO_InitStruct.Pull = GPIO_NOPULL;
  HAL_GPIO_Init(GPIO_EXTI4_KPAD_IRQ_GPIO_Port, &GPIO_InitStruct);

  /*Configure GPIO pins : RMII_MDC_Pin RMII_RXD0_Pin RMII_RXD1_Pin */
  GPIO_InitStruct.Pin = RMII_MDC_Pin|RMII_RXD0_Pin|RMII_RXD1_Pin;
  GPIO_InitStruct.Mode = GPIO_MODE_AF_PP;
  GPIO_InitStruct.Pull = GPIO_NOPULL;
  GPIO_InitStruct.Speed = GPIO_SPEED_FREQ_VERY_HIGH;
  GPIO_InitStruct.Alternate = GPIO_AF11_ETH;
  HAL_GPIO_Init(GPIOC, &GPIO_InitStruct);

  /*Configure GPIO pins : RMII_REF_CLK_Pin RMII_MDIO_Pin RMII_CRS_DV_Pin */
  GPIO_InitStruct.Pin = RMII_REF_CLK_Pin|RMII_MDIO_Pin|RMII_CRS_DV_Pin;
  GPIO_InitStruct.Mode = GPIO_MODE_AF_PP;
  GPIO_InitStruct.Pull = GPIO_NOPULL;
  GPIO_InitStruct.Speed = GPIO_SPEED_FREQ_VERY_HIGH;
  GPIO_InitStruct.Alternate = GPIO_AF11_ETH;
  HAL_GPIO_Init(GPIOA, &GPIO_InitStruct);

  /*Configure GPIO pins : LD1_Pin LD3_Pin LD2_Pin */
  GPIO_InitStruct.Pin = LD1_Pin|LD3_Pin|LD2_Pin;
  GPIO_InitStruct.Mode = GPIO_MODE_OUTPUT_PP;
  GPIO_InitStruct.Pull = GPIO_NOPULL;
  GPIO_InitStruct.Speed = GPIO_SPEED_FREQ_LOW;
  HAL_GPIO_Init(GPIOB, &GPIO_InitStruct);

  /*Configure GPIO pin : RMII_TXD1_Pin */
  GPIO_InitStruct.Pin = RMII_TXD1_Pin;
  GPIO_InitStruct.Mode = GPIO_MODE_AF_PP;
  GPIO_InitStruct.Pull = GPIO_NOPULL;
  GPIO_InitStruct.Speed = GPIO_SPEED_FREQ_VERY_HIGH;
  GPIO_InitStruct.Alternate = GPIO_AF11_ETH;
  HAL_GPIO_Init(RMII_TXD1_GPIO_Port, &GPIO_InitStruct);

  /*Configure GPIO pin : PG6 */
  GPIO_InitStruct.Pin = GPIO_PIN_6;
  GPIO_InitStruct.Mode = GPIO_MODE_OUTPUT_PP;
  GPIO_InitStruct.Pull = GPIO_NOPULL;
  GPIO_InitStruct.Speed = GPIO_SPEED_FREQ_LOW;
  HAL_GPIO_Init(GPIOG, &GPIO_InitStruct);

  /*Configure GPIO pin : USB_OverCurrent_Pin */
  GPIO_InitStruct.Pin = USB_OverCurrent_Pin;
  GPIO_InitStruct.Mode = GPIO_MODE_INPUT;
  GPIO_InitStruct.Pull = GPIO_NOPULL;
  HAL_GPIO_Init(USB_OverCurrent_GPIO_Port, &GPIO_InitStruct);

  /*Configure GPIO pins : USB_SOF_Pin USB_ID_Pin USB_DM_Pin USB_DP_Pin */
  GPIO_InitStruct.Pin = USB_SOF_Pin|USB_ID_Pin|USB_DM_Pin|USB_DP_Pin;
  GPIO_InitStruct.Mode = GPIO_MODE_AF_PP;
  GPIO_InitStruct.Pull = GPIO_NOPULL;
  GPIO_InitStruct.Speed = GPIO_SPEED_FREQ_VERY_HIGH;
  GPIO_InitStruct.Alternate = GPIO_AF10_OTG_FS;
  HAL_GPIO_Init(GPIOA, &GPIO_InitStruct);

  /*Configure GPIO pin : USB_VBUS_Pin */
  GPIO_InitStruct.Pin = USB_VBUS_Pin;
  GPIO_InitStruct.Mode = GPIO_MODE_INPUT;
  GPIO_InitStruct.Pull = GPIO_NOPULL;
  HAL_GPIO_Init(USB_VBUS_GPIO_Port, &GPIO_InitStruct);

  /*Configure GPIO pins : RMII_TX_EN_Pin RMII_TXD0_Pin */
  GPIO_InitStruct.Pin = RMII_TX_EN_Pin|RMII_TXD0_Pin;
  GPIO_InitStruct.Mode = GPIO_MODE_AF_PP;
  GPIO_InitStruct.Pull = GPIO_NOPULL;
  GPIO_InitStruct.Speed = GPIO_SPEED_FREQ_VERY_HIGH;
  GPIO_InitStruct.Alternate = GPIO_AF11_ETH;
  HAL_GPIO_Init(GPIOG, &GPIO_InitStruct);

  /* EXTI interrupt init*/
  HAL_NVIC_SetPriority(EXTI4_IRQn, 1, 0);
  HAL_NVIC_EnableIRQ(EXTI4_IRQn);

}

void StartLineSensorTask(void *argument)
{
  /* USER CODE BEGIN 5 */
  /* Infinite loop */
  for(;;)
  {
	  HAL_I2C_Mem_Read(&hi2c1, SX1509_I2C_ADDR1 << 1, REG_DATA_B, 1, &lineData, 1, I2C_TIMEOUT);
	  osDelay(1000);
  }
  /* USER CODE END 5 */
}

void StartLED1Task(void *argument)
{
  /* USER CODE BEGIN StartLED1Task */
  /* Infinite loop */
  for(;;)
  {
	HAL_GPIO_TogglePin(GPIOE, GPIO_PIN_5);
    osDelay((1.0/20)*1000);
  }
  /* USER CODE END StartLED1Task */
}

void StartLED2Task(void *argument)
{
  /* USER CODE BEGIN StartLED2Task */
  /* Infinite loop */
  for(;;)
  {
	HAL_GPIO_TogglePin(GPIOE, GPIO_PIN_6);
    osDelay((1.0/3)*1000);
  }
  /* USER CODE END StartLED2Task */
}

void HAL_TIM_PeriodElapsedCallback(TIM_HandleTypeDef *htim)
{
  if (htim->Instance == TIM6) {
    HAL_IncTick();
  }
}

void Error_Handler(void)
{
  __disable_irq();
  while (1)
  {
  }
}
